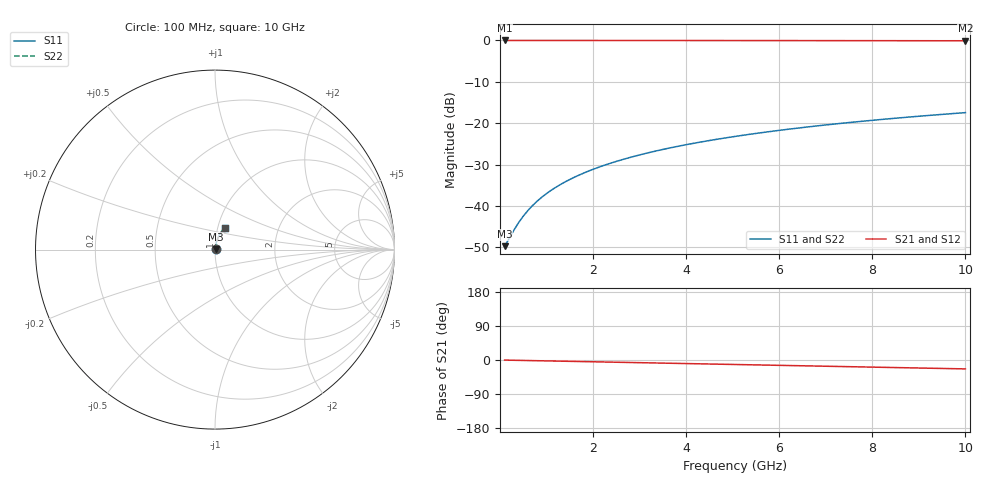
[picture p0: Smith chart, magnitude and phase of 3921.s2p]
# Hz S RI R 50.00
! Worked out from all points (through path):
!   100 points, 100 MHz to 10 GHz, reference 50 ohm
!   highest |S21| = -0.03 dB at 100 MHz (marker M1); lowest = -0.1 dB at 10 GHz (marker M2)
!   group delay of S21, straight-line fit = 6.53 ps
!   lowest |S11| = -49.7 dB at 100 MHz (marker M3), VSWR 1.01, Z = 50.3 + j0.137 ohm
!   |S11| at or under -10 dB: start of sweep to end of sweep
!   |S22| runs from -49.7 to -17.5 dB; largest |S21 - S12| = 0
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1e8  0.00297 0.00136  0.997 -0.00408  0.997 -0.00408  0.00297 0.00136
3e8  0.00304 0.00409  0.9969 -0.0123  0.9969 -0.0123  0.00304 0.00409
4e8  0.00309 0.00546  0.9968 -0.0163  0.9968 -0.0163  0.00309 0.00546
5e8  0.00315 0.00682  0.9967 -0.0204  0.9967 -0.0204  0.00315 0.00682
6e8  0.00322 0.00818  0.9966 -0.0245  0.9966 -0.0245  0.00322 0.00818
7e8  0.0033 0.00955  0.9965 -0.0286  0.9965 -0.0286  0.0033 0.00955
8e8  0.00339 0.0109  0.9964 -0.0327  0.9964 -0.0327  0.00339 0.0109
1e9  0.0036 0.0136  0.996 -0.0408  0.996 -0.0408  0.0036 0.0136
1.2e9  0.00386 0.0163  0.9956 -0.049  0.9956 -0.049  0.00386 0.0163
1.5e9  0.00432 0.0204  0.9948 -0.0612  0.9948 -0.0612  0.00432 0.0204
1.8e9  0.00489 0.0245  0.9939 -0.0734  0.9939 -0.0734  0.00489 0.0245
2.1e9  0.00555 0.0285  0.9928 -0.0856  0.9928 -0.0856  0.00555 0.0285
2.5e9  0.00658 0.0339  0.991 -0.1019  0.991 -0.1019  0.00658 0.0339
2.9e9  0.00779 0.0392  0.989 -0.1181  0.989 -0.1181  0.00779 0.0392
3.4e9  0.00955 0.0458  0.9861 -0.1383  0.9861 -0.1383  0.00955 0.0458
4.2e9  0.0129 0.0561  0.9804 -0.1705  0.9804 -0.1705  0.0129 0.0561
5.1e9  0.0175 0.0675  0.9727 -0.2064  0.9727 -0.2064  0.0175 0.0675
5.9e9  0.0223 0.0773  0.9646 -0.238  0.9646 -0.238  0.0223 0.0773
6.7e9  0.0277 0.0868  0.9553 -0.2692  0.9553 -0.2692  0.0277 0.0868
7.5e9  0.0337 0.0959  0.945 -0.3001  0.945 -0.3001  0.0337 0.0959
8.4e9  0.0412 0.1056  0.932 -0.3343  0.932 -0.3343  0.0412 0.1056
1e10  0.0562 0.1216  0.9058 -0.3936  0.9058 -0.3936  0.0562 0.1216
